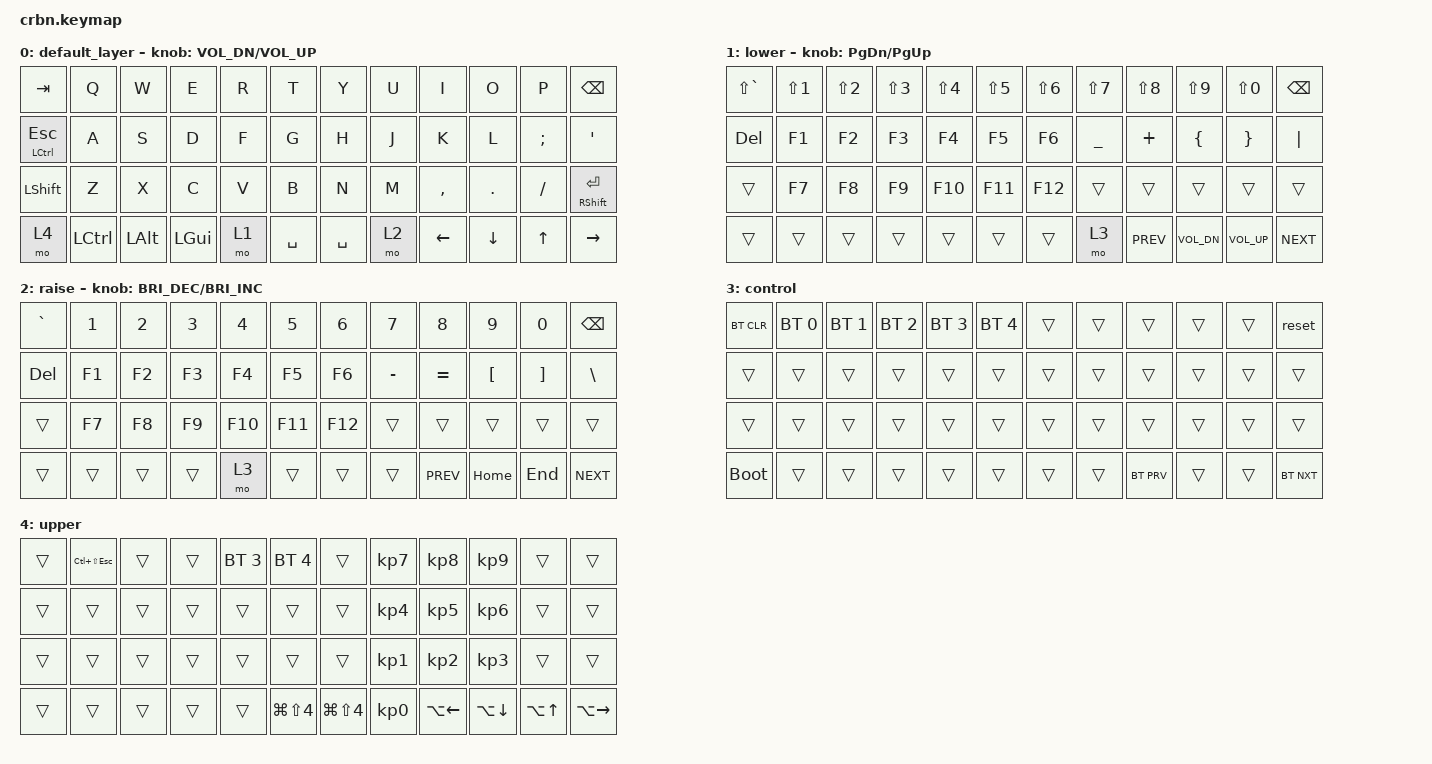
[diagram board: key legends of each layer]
/*
 * Copyright (c) 2020 The ZMK Contributors
 *
 * SPDX-License-Identifier: MIT
 */

#include <behaviors.dtsi>
#include <dt-bindings/zmk/keys.h>
#include <dt-bindings/zmk/bt.h>

/ {
	keymap {
		compatible = "zmk,keymap";

		default_layer {
			bindings = <
				&kp TAB   &kp Q    &kp W &kp E &kp R &kp T  &kp Y   &kp U  &kp I    &kp O   &kp P    &kp BSPC
				&mt LCTRL ESC &kp A &kp S &kp D &kp F &kp G  &kp H  &kp J  &kp K  &kp L   &kp SEMI &kp SQT
				&kp LSHFT &kp Z &kp X &kp C &kp V &kp B  &kp N  &kp M  &kp COMMA &kp DOT &kp FSLH &mt RSHFT RET
				&mo 4 &kp LCTRL &kp LALT &kp LGUI &mo 1 &kp SPACE &kp SPACE &mo 2 &kp LEFT &kp DOWN &kp UP &kp RIGHT
			>;

			sensor-bindings = <&inc_dec_kp C_VOL_DN C_VOL_UP>;
		};

		lower {
			bindings = <
				&kp LS(GRAVE) &kp LS(N1) &kp LS(N2) &kp LS(N3) &kp LS(N4) &kp LS(N5) &kp LS(N6) &kp LS(N7) &kp LS(N8) &kp LS(N9) &kp LS(N0) &kp BSPC
				&kp DEL &kp F1 &kp F2 &kp F3 &kp F4 &kp F5 &kp F6 &kp UNDER &kp PLUS &kp LBRC &kp RBRC &kp PIPE
				&trans &kp F7 &kp F8 &kp F9 &kp F10 &kp F11 &kp F12 &trans &trans &trans &trans &trans
				&trans &trans &trans &trans &trans &trans &trans &mo 3 &kp C_PREV &kp C_VOL_DN &kp C_VOL_UP &kp C_NEXT
			>;

			sensor-bindings = <&inc_dec_kp PG_DN PG_UP>;
		};

		raise {
			bindings = <
				&kp GRAVE &kp N1 &kp N2 &kp N3 &kp N4 &kp N5 &kp N6 &kp N7 &kp N8 &kp N9 &kp N0 &kp BSPC
				&kp DEL &kp F1 &kp F2 &kp F3 &kp F4 &kp F5 &kp F6 &kp MINUS &kp EQUAL &kp LBKT &kp RBKT &kp BSLH
				&trans &kp F7 &kp F8 &kp F9 &kp F10 &kp F11 &kp F12 &trans &trans &trans &trans &trans
				&trans &trans &trans &trans &mo 3 &trans &trans &trans &kp C_PREV &kp HOME &kp END &kp C_NEXT
			>;
			
			sensor-bindings = <&inc_dec_kp C_BRI_DEC C_BRI_INC>;
		};
		
		control {
			bindings = <
				&bt BT_CLR &bt BT_SEL 0 &bt BT_SEL 1 &bt BT_SEL 2 &bt BT_SEL 3 &bt BT_SEL 4 &trans &trans &trans &trans &trans &reset
				&trans &trans &trans &trans &trans &trans &trans &trans &trans &trans &trans &trans
				&trans &trans &trans &trans &trans &trans &trans &trans &trans &trans &trans &trans
				&bootloader &trans &trans &trans &trans &trans &trans &trans &bt BT_PRV &trans &trans &bt BT_NXT
			>;
		};
		
		upper {
			bindings = <
				&trans &kp LC(LS(ESC)) &trans &trans &bt BT_SEL 3 &bt BT_SEL 4 &trans &kp KP_N7 &kp KP_N8 &kp KP_N9 &trans &trans
				&trans &trans &trans &trans &trans &trans &trans &kp KP_N4 &kp KP_N5 &kp KP_N6 &trans &trans
				&trans &trans &trans &trans &trans &trans &trans &kp KP_N1 &kp KP_N2 &kp KP_N3 &trans &trans
				&trans &trans &trans &trans &trans &kp LG(LS(NUMBER_4)) &kp LG(LS(NUMBER_4)) &kp KP_N0 &kp LA(LEFT) &kp LA(DOWN) &kp LA(UP) &kp LA(RIGHT)
			>;
		};
	};
};
